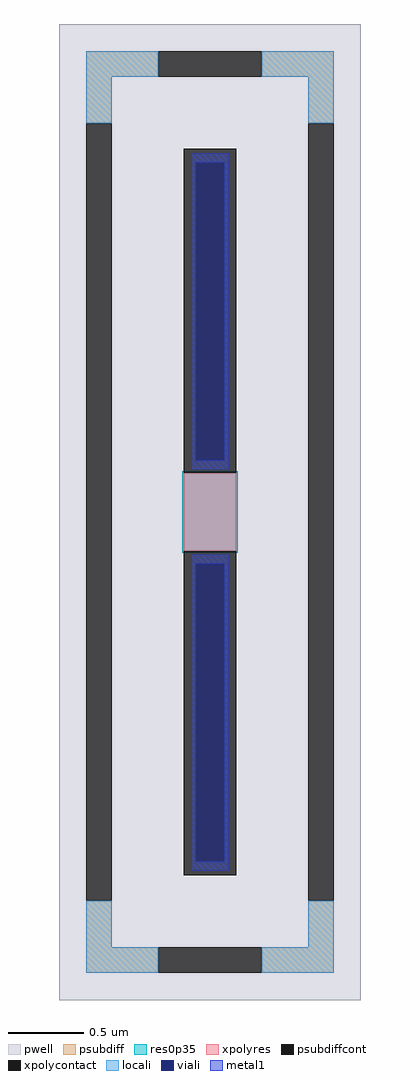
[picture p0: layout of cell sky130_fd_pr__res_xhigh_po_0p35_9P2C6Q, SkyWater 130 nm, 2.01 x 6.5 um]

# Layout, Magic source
magic
tech sky130A
magscale 1 2
<< pwell >>
rect -201 -650 201 650
<< psubdiff >>
rect -165 580 -69 614
rect 69 580 165 614
rect -165 518 -131 580
rect 131 518 165 580
rect -165 -580 -131 -518
rect 131 -580 165 -518
rect -165 -614 -69 -580
rect 69 -614 165 -580
<< psubdiffcont >>
rect -69 580 69 614
rect -165 -518 -131 518
rect 131 -518 165 518
rect -69 -614 69 -580
<< xpolycontact >>
rect -35 52 35 484
rect -35 -484 35 -52
<< xpolyres >>
rect -35 -52 35 52
<< locali >>
rect -165 580 -69 614
rect 69 580 165 614
rect -165 518 -131 580
rect 131 518 165 580
rect -165 -580 -131 -518
rect 131 -580 165 -518
rect -165 -614 -69 -580
rect 69 -614 165 -580
<< viali >>
rect -19 69 19 466
rect -19 -466 19 -69
<< metal1 >>
rect -25 466 25 478
rect -25 69 -19 466
rect 19 69 25 466
rect -25 57 25 69
rect -25 -69 25 -57
rect -25 -466 -19 -69
rect 19 -466 25 -69
rect -25 -478 25 -466
<< res0p35 >>
rect -37 -54 37 54
<< properties >>
string FIXED_BBOX -148 -597 148 597
string gencell sky130_fd_pr__res_xhigh_po_0p35
string library sky130
string parameters w 0.350 l 0.52 m 1 nx 1 wmin 0.350 lmin 0.50 rho 2000 val 4.046k dummy 0 dw 0.0 term 188.2 sterm 0.0 caplen 0 wmax 0.350 guard 1 glc 1 grc 1 gtc 1 gbc 1 compatible {sky130_fd_pr__res_xhigh_po_0p35  sky130_fd_pr__res_xhigh_po_0p69 sky130_fd_pr__res_xhigh_po_1p41  sky130_fd_pr__res_xhigh_po_2p85 sky130_fd_pr__res_xhigh_po_5p73} full_metal 1 n_guard 0 hv_guard 0 vias 1 viagb 0 viagt 0 viagl 0 viagr 0
<< end >>
